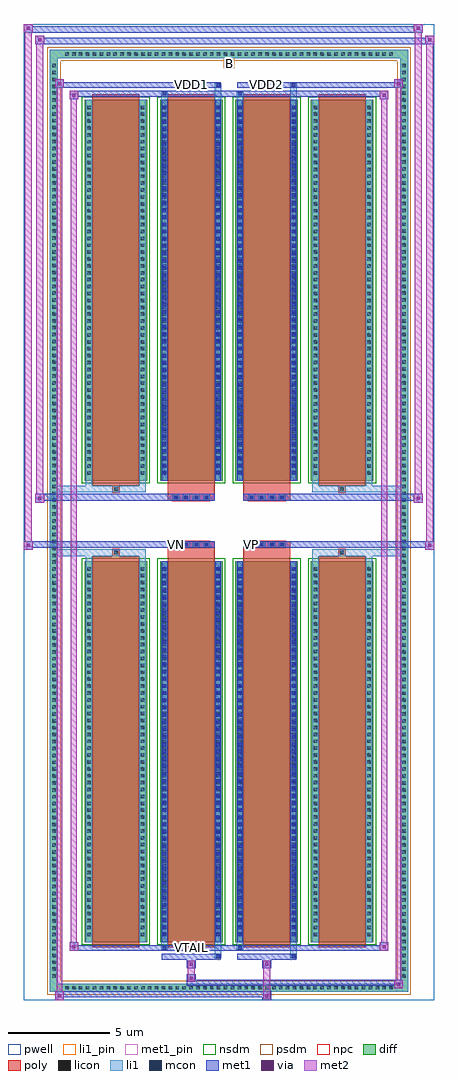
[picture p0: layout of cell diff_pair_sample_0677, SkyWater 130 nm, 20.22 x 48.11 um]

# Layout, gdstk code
import gdstk
lib = gdstk.Library(unit=1e-6, precision=5e-09)
def R(c, l, rs):  # rectangles x0, y0, x1, y1
    for r in rs: c.add(gdstk.rectangle(r[:2], r[2:], *l))
def A(c, l, x, y, w, h, nx, ny, dx, dy):  # array of equal rectangles
    R(c, l, [(x+i*dx, y+j*dy, x+i*dx+w, y+j*dy+h) for i in range(nx) for j in range(ny)])
def P(c, l, *ps):  # polygons
    for p in ps: c.add(gdstk.Polygon(p, *l))
pwell = (64, 44)
diff = (65, 20)
poly = (66, 20)
licon = (66, 44)
li1_pin = (67, 16)
li1 = (67, 20)
mcon = (67, 44)
met1_pin = (68, 16)
met1 = (68, 20)
via = (68, 44)
met2 = (69, 20)
nsdm = (93, 44)
psdm = (94, 20)
npc = (95, 20)

diff_pair_sample_0677 = lib.new_cell('diff_pair_sample_0677')
R(diff_pair_sample_0677, pwell, [(-10.11,-23.62,10.11,24.49), (-7.43,-21.81,-0.01,-0.795), (0.01,-21.81,7.43,-0.795), (-7.43,0.795,-0.01,21.81), (0.01,0.795,7.43,21.81)])
A(diff_pair_sample_0677, diff, -8.195, -23.22, 0.41, 0.41, 48, 2, 0.34, 46.03)
A(diff_pair_sample_0677, diff, -8.84, -22.645, 0.41, 0.41, 1, 133, 0, 0.34)
A(diff_pair_sample_0677, diff, 8.43, -22.645, 0.41, 0.41, 1, 133, 0, 0.34)
A(diff_pair_sample_0677, diff, -7.12, -20.765, 3.08, 18.78, 4, 2, 3.72, 22.75)
R(diff_pair_sample_0677, diff, [(-8.195,-23.22,8.195,-22.81), (-8.84,-22.645,-8.43,22.645), (8.43,-22.645,8.84,22.645), (-8.195,22.81,8.195,23.22)])
P(diff_pair_sample_0677, diff, [(8.84,23.22),(-8.84,23.22),(-8.84,-22.81),(-8.43,-22.81),(-8.43,22.81),(8.43,22.81),(8.43,-22.81),(-8.43,-22.81),(-8.84,-22.81),(-8.84,-23.22),(8.84,-23.22)])
A(diff_pair_sample_0677, poly, -6.73, -21.015, 2.3, 19.28, 4, 2, 3.72, 22.75)
A(diff_pair_sample_0677, poly, -2.775, -1.325, 0.33, 0.33, 4, 2, 0.5, 2.32)
A(diff_pair_sample_0677, poly, 0.945, -1.325, 0.33, 0.33, 4, 2, 0.5, 2.32)
R(diff_pair_sample_0677, poly, [(-5.745,-1.735,-5.415,-1.405), (-5.745,-1.735,-5.415,-1.405), (-3.01,-1.735,-0.71,-1.325), (0.71,-1.735,3.01,-1.325), (5.415,-1.735,5.745,-1.405), (5.415,-1.735,5.745,-1.405), (-3.01,-1.325,-0.71,-0.995), (0.71,-1.325,3.01,-0.995), (-3.01,0.995,-0.71,1.325), (0.71,0.995,3.01,1.325), (-3.01,1.325,-0.71,1.735), (0.71,1.325,3.01,1.735), (-5.745,1.405,-5.415,1.735), (-5.745,1.405,-5.415,1.735), (5.415,1.405,5.745,1.735), (5.415,1.405,5.745,1.735)])
A(diff_pair_sample_0677, licon, -8.075, -23.1, 0.17, 0.17, 48, 2, 0.34, 46.03)
A(diff_pair_sample_0677, licon, -8.72, -22.525, 0.17, 0.17, 1, 133, 0, 0.34)
A(diff_pair_sample_0677, licon, 8.55, -22.525, 0.17, 0.17, 1, 133, 0, 0.34)
A(diff_pair_sample_0677, licon, -6.98, -20.47, 0.17, 0.17, 1, 54, 0, 0.34)
A(diff_pair_sample_0677, licon, -4.35, -20.47, 0.17, 0.17, 1, 54, 0, 0.34)
A(diff_pair_sample_0677, licon, -3.26, -20.47, 0.17, 0.17, 1, 54, 0, 0.34)
A(diff_pair_sample_0677, licon, -0.63, -20.47, 0.17, 0.17, 1, 54, 0, 0.34)
A(diff_pair_sample_0677, licon, 0.46, -20.47, 0.17, 0.17, 1, 54, 0, 0.34)
A(diff_pair_sample_0677, licon, 3.09, -20.47, 0.17, 0.17, 1, 54, 0, 0.34)
A(diff_pair_sample_0677, licon, 4.18, -20.47, 0.17, 0.17, 1, 54, 0, 0.34)
A(diff_pair_sample_0677, licon, 6.81, -20.47, 0.17, 0.17, 1, 54, 0, 0.34)
A(diff_pair_sample_0677, licon, -2.695, -1.245, 0.17, 0.17, 4, 2, 0.5, 2.32)
A(diff_pair_sample_0677, licon, 1.025, -1.245, 0.17, 0.17, 4, 2, 0.5, 2.32)
A(diff_pair_sample_0677, licon, -6.98, 2.28, 0.17, 0.17, 1, 54, 0, 0.34)
A(diff_pair_sample_0677, licon, -4.35, 2.28, 0.17, 0.17, 1, 54, 0, 0.34)
A(diff_pair_sample_0677, licon, -3.26, 2.28, 0.17, 0.17, 1, 54, 0, 0.34)
A(diff_pair_sample_0677, licon, -0.63, 2.28, 0.17, 0.17, 1, 54, 0, 0.34)
A(diff_pair_sample_0677, licon, 0.46, 2.28, 0.17, 0.17, 1, 54, 0, 0.34)
A(diff_pair_sample_0677, licon, 3.09, 2.28, 0.17, 0.17, 1, 54, 0, 0.34)
A(diff_pair_sample_0677, licon, 4.18, 2.28, 0.17, 0.17, 1, 54, 0, 0.34)
A(diff_pair_sample_0677, licon, 6.81, 2.28, 0.17, 0.17, 1, 54, 0, 0.34)
R(diff_pair_sample_0677, licon, [(-5.665,-1.655,-5.495,-1.485), (5.495,-1.655,5.665,-1.485), (-5.665,1.485,-5.495,1.655), (5.495,1.485,5.665,1.655)])
R(diff_pair_sample_0677, li1_pin, [(-0.25,22.31,0.25,22.81)])
A(diff_pair_sample_0677, li1, -8.155, -23.18, 0.33, 0.33, 48, 2, 0.34, 46.03)
A(diff_pair_sample_0677, li1, -8.8, -22.605, 0.33, 0.33, 1, 133, 0, 0.34)
A(diff_pair_sample_0677, li1, 8.47, -22.605, 0.33, 0.33, 1, 133, 0, 0.34)
A(diff_pair_sample_0677, li1, -7.06, -20.55, 0.33, 0.33, 1, 54, 0, 0.34)
A(diff_pair_sample_0677, li1, -4.43, -20.55, 0.33, 0.33, 1, 54, 0, 0.34)
A(diff_pair_sample_0677, li1, -3.34, -20.55, 0.33, 0.33, 1, 54, 0, 0.34)
A(diff_pair_sample_0677, li1, -0.71, -20.55, 0.33, 0.33, 1, 54, 0, 0.34)
A(diff_pair_sample_0677, li1, 0.38, -20.55, 0.33, 0.33, 1, 54, 0, 0.34)
A(diff_pair_sample_0677, li1, 3.01, -20.55, 0.33, 0.33, 1, 54, 0, 0.34)
A(diff_pair_sample_0677, li1, 4.1, -20.55, 0.33, 0.33, 1, 54, 0, 0.34)
A(diff_pair_sample_0677, li1, 6.73, -20.55, 0.33, 0.33, 1, 54, 0, 0.34)
A(diff_pair_sample_0677, li1, -3.26, -20.46, 0.17, 0.17, 1, 51, 0, 0.36)
A(diff_pair_sample_0677, li1, -0.63, -20.46, 0.17, 0.17, 1, 51, 0, 0.36)
A(diff_pair_sample_0677, li1, 0.46, -20.46, 0.17, 0.17, 1, 51, 0, 0.36)
A(diff_pair_sample_0677, li1, 3.09, -20.46, 0.17, 0.17, 1, 51, 0, 0.36)
A(diff_pair_sample_0677, li1, -2.775, -1.325, 0.33, 0.33, 4, 2, 0.5, 2.32)
A(diff_pair_sample_0677, li1, 0.945, -1.325, 0.33, 0.33, 4, 2, 0.5, 2.32)
A(diff_pair_sample_0677, li1, -7.06, 2.2, 0.33, 0.33, 1, 54, 0, 0.34)
A(diff_pair_sample_0677, li1, -4.43, 2.2, 0.33, 0.33, 1, 54, 0, 0.34)
A(diff_pair_sample_0677, li1, -3.34, 2.2, 0.33, 0.33, 1, 54, 0, 0.34)
A(diff_pair_sample_0677, li1, -0.71, 2.2, 0.33, 0.33, 1, 54, 0, 0.34)
A(diff_pair_sample_0677, li1, 0.38, 2.2, 0.33, 0.33, 1, 54, 0, 0.34)
A(diff_pair_sample_0677, li1, 3.01, 2.2, 0.33, 0.33, 1, 54, 0, 0.34)
A(diff_pair_sample_0677, li1, 4.1, 2.2, 0.33, 0.33, 1, 54, 0, 0.34)
A(diff_pair_sample_0677, li1, 6.73, 2.2, 0.33, 0.33, 1, 54, 0, 0.34)
A(diff_pair_sample_0677, li1, -3.26, 2.29, 0.17, 0.17, 1, 51, 0, 0.36)
A(diff_pair_sample_0677, li1, -0.63, 2.29, 0.17, 0.17, 1, 51, 0, 0.36)
A(diff_pair_sample_0677, li1, 0.46, 2.29, 0.17, 0.17, 1, 51, 0, 0.36)
A(diff_pair_sample_0677, li1, 3.09, 2.29, 0.17, 0.17, 1, 51, 0, 0.36)
R(diff_pair_sample_0677, li1, [(-8.84,-23.22,-8.43,-22.81), (-8.84,-23.22,-8.43,-22.81), (-8.43,-23.22,8.43,-22.81), (8.43,-23.22,8.84,-22.81), (8.43,-23.22,8.84,-22.81), (-8.84,-22.81,-8.43,22.81), (8.43,-22.81,8.84,22.81), (-0.71,-21.57,-0.38,-20.765), (-0.63,-21.57,-0.46,-21.4), (3.01,-21.57,3.34,-20.765), (3.09,-21.57,3.26,-21.4), (-3.34,-21.14,-3.01,-20.765), (-3.26,-21.14,-3.09,-20.97), (0.38,-21.14,0.71,-20.765), (0.46,-21.14,0.63,-20.97), (-7.06,-20.765,-6.73,-1.985), (-4.43,-20.765,-4.1,-1.985), (-3.34,-20.765,-3.01,-1.985), (-0.71,-20.765,-0.38,-1.985), (0.38,-20.765,0.71,-1.985), (3.01,-20.765,3.34,-1.985), (4.1,-20.765,4.43,-1.985), (6.73,-20.765,7.06,-1.985), (-3.26,-20.46,-3.09,-2.29), (-0.63,-20.46,-0.46,-2.29), (0.46,-20.46,0.63,-2.29), (3.09,-20.46,3.26,-2.29), (-7.06,-1.985,-6.73,-1.405), (-4.43,-1.985,-4.1,-1.405), (4.1,-1.985,4.43,-1.405), (6.73,-1.985,7.06,-1.405), (-8.84,-1.735,-5.745,-1.405), (-7.06,-1.735,-5.745,-1.405), (-5.745,-1.735,-5.415,-1.405), (-5.415,-1.735,-4.1,-1.405), (4.1,-1.735,5.415,-1.405), (5.415,-1.735,5.745,-1.405), (5.415,-1.735,8.84,-1.405), (5.745,-1.735,7.06,-1.405), (-8.84,1.405,-5.745,1.735), (-7.06,1.405,-5.745,1.735), (-7.06,1.405,-6.73,1.985), (-5.745,1.405,-5.415,1.735), (-5.415,1.405,-4.1,1.735), (-4.43,1.405,-4.1,1.985), (4.1,1.405,5.415,1.735), (4.1,1.405,4.43,1.985), (5.415,1.405,5.745,1.735), (5.415,1.405,8.84,1.735), (5.745,1.405,7.06,1.735), (6.73,1.405,7.06,1.985), (-7.06,1.985,-6.73,20.765), (-4.43,1.985,-4.1,20.765), (-3.34,1.985,-3.01,20.765), (-0.71,1.985,-0.38,20.765), (0.38,1.985,0.71,20.765), (3.01,1.985,3.34,20.765), (4.1,1.985,4.43,20.765), (6.73,1.985,7.06,20.765), (-3.26,2.29,-3.09,20.46), (-0.63,2.29,-0.46,20.46), (0.46,2.29,0.63,20.46), (3.09,2.29,3.26,20.46), (-3.34,20.765,-3.01,21.14), (-0.71,20.765,-0.38,21.57), (0.38,20.765,0.71,21.14), (3.01,20.765,3.34,21.57), (-3.26,20.97,-3.09,21.14), (0.46,20.97,0.63,21.14), (-0.63,21.4,-0.46,21.57), (3.09,21.4,3.26,21.57), (-8.84,22.81,-8.43,23.22), (-8.84,22.81,-8.43,23.22), (-8.43,22.81,8.43,23.22), (8.43,22.81,8.84,23.22), (8.43,22.81,8.84,23.22)])
A(diff_pair_sample_0677, mcon, -3.26, -20.46, 0.17, 0.17, 1, 51, 0, 0.36)
A(diff_pair_sample_0677, mcon, -0.63, -20.46, 0.17, 0.17, 1, 51, 0, 0.36)
A(diff_pair_sample_0677, mcon, 0.46, -20.46, 0.17, 0.17, 1, 51, 0, 0.36)
A(diff_pair_sample_0677, mcon, 3.09, -20.46, 0.17, 0.17, 1, 51, 0, 0.36)
A(diff_pair_sample_0677, mcon, -2.695, -1.245, 0.17, 0.17, 4, 2, 0.5, 2.32)
A(diff_pair_sample_0677, mcon, 1.025, -1.245, 0.17, 0.17, 4, 2, 0.5, 2.32)
A(diff_pair_sample_0677, mcon, -3.26, 2.29, 0.17, 0.17, 1, 51, 0, 0.36)
A(diff_pair_sample_0677, mcon, -0.63, 2.29, 0.17, 0.17, 1, 51, 0, 0.36)
A(diff_pair_sample_0677, mcon, 0.46, 2.29, 0.17, 0.17, 1, 51, 0, 0.36)
A(diff_pair_sample_0677, mcon, 3.09, 2.29, 0.17, 0.17, 1, 51, 0, 0.36)
R(diff_pair_sample_0677, mcon, [(-0.63,-21.57,-0.46,-21.4), (3.09,-21.57,3.26,-21.4), (-3.26,-21.14,-3.09,-20.97), (0.46,-21.14,0.63,-20.97), (-3.26,20.97,-3.09,21.14), (0.46,20.97,0.63,21.14), (-0.63,21.4,-0.46,21.57), (3.09,21.4,3.26,21.57)])
R(diff_pair_sample_0677, met1_pin, [(-1.995,-21.18,-1.725,-20.91), (-2.745,-1.285,-2.475,-1.015), (0.975,-1.285,1.245,-1.015), (-1.995,21.36,-1.725,21.63), (1.725,21.36,1.995,21.63)])
A(diff_pair_sample_0677, met1, -3.32, -20.52, 0.29, 0.29, 1, 51, 0, 0.36)
A(diff_pair_sample_0677, met1, -0.69, -20.52, 0.29, 0.29, 1, 51, 0, 0.36)
A(diff_pair_sample_0677, met1, 0.4, -20.52, 0.29, 0.29, 1, 51, 0, 0.36)
A(diff_pair_sample_0677, met1, 3.03, -20.52, 0.29, 0.29, 1, 51, 0, 0.36)
A(diff_pair_sample_0677, met1, -2.755, -1.305, 0.29, 0.29, 4, 2, 0.5, 2.32)
A(diff_pair_sample_0677, met1, 0.965, -1.305, 0.29, 0.29, 4, 2, 0.5, 2.32)
A(diff_pair_sample_0677, met1, -3.32, 2.23, 0.29, 0.29, 1, 51, 0, 0.36)
A(diff_pair_sample_0677, met1, -0.69, 2.23, 0.29, 0.29, 1, 51, 0, 0.36)
A(diff_pair_sample_0677, met1, 0.4, 2.23, 0.29, 0.29, 1, 51, 0, 0.36)
A(diff_pair_sample_0677, met1, 3.03, 2.23, 0.29, 0.29, 1, 51, 0, 0.36)
R(diff_pair_sample_0677, met1, [(-8.57,-23.62,-8.14,-23.19), (1.645,-23.62,2.075,-23.19), (-8.57,-23.48,2.075,-23.19), (8.14,-23.05,8.57,-22.62), (-2.075,-22.91,8.57,-22.62), (-2.075,-22.77,-1.645,-22.34), (-2.075,-22.06,-1.645,-21.63), (1.645,-22.06,2.075,-21.63), (-3.32,-21.63,-0.4,-21.34), (-0.69,-21.63,-0.4,-21.34), (0.4,-21.63,3.32,-21.34), (3.03,-21.63,3.32,-21.34), (-7.86,-21.2,-7.43,-20.77), (-7.86,-21.2,-3.32,-20.91), (-3.32,-21.2,-3.03,-20.91), (-3.32,-21.2,-0.4,-20.91), (-0.4,-21.2,0.4,-20.91), (0.4,-21.2,0.69,-20.91), (0.4,-21.2,3.32,-20.91), (3.32,-21.2,7.86,-20.91), (7.43,-21.2,7.86,-20.77), (-3.32,-20.765,-3.03,-1.985), (-0.69,-20.765,-0.4,-1.985), (0.4,-20.765,0.69,-1.985), (3.03,-20.765,3.32,-1.985), (-10.11,-1.425,-9.68,-0.995), (9.68,-1.425,10.11,-0.995), (-10.11,-1.325,-0.71,-0.995), (-3.01,-1.325,-0.71,-0.995), (0.71,-1.325,3.01,-0.995), (0.71,-1.325,10.11,-0.995), (-9.54,0.895,-9.11,1.325), (9.11,0.895,9.54,1.325), (-9.54,0.995,-3.01,1.325), (-3.01,0.995,-0.71,1.325), (0.71,0.995,3.01,1.325), (3.01,0.995,9.54,1.325), (-3.32,1.985,-3.03,20.765), (-0.69,1.985,-0.4,20.765), (0.4,1.985,0.69,20.765), (3.03,1.985,3.32,20.765), (-7.86,20.77,-7.43,21.2), (7.43,20.77,7.86,21.2), (-7.86,20.91,-3.32,21.2), (-3.32,20.91,-3.03,21.2), (-3.32,20.91,-0.4,21.2), (-0.4,20.91,0.4,21.2), (0.4,20.91,0.69,21.2), (0.4,20.91,3.32,21.2), (3.32,20.91,7.86,21.2), (-8.57,21.34,-8.14,21.77), (-8.57,21.34,-3.32,21.63), (-3.32,21.34,-0.4,21.63), (-0.69,21.34,-0.4,21.63), (0.4,21.34,3.32,21.63), (3.03,21.34,3.32,21.63), (3.32,21.34,8.57,21.63), (8.14,21.34,8.57,21.77), (-9.54,23.49,-9.11,23.92), (-9.54,23.49,-7.43,23.82), (-7.43,23.49,7.43,23.82), (7.43,23.49,10.11,23.82), (9.68,23.49,10.11,23.92), (-10.11,24.06,-9.68,24.49), (-10.11,24.06,-7.43,24.39), (-7.43,24.06,7.43,24.39), (7.43,24.06,9.54,24.39), (9.11,24.06,9.54,24.49)])
R(diff_pair_sample_0677, via, [(-8.43,-23.48,-8.28,-23.33), (1.785,-23.48,1.935,-23.33), (8.28,-22.91,8.43,-22.76), (-1.935,-22.63,-1.785,-22.48), (-1.935,-21.92,-1.785,-21.77), (1.785,-21.92,1.935,-21.77), (-7.72,-21.06,-7.57,-20.91), (7.57,-21.06,7.72,-20.91), (-9.97,-1.285,-9.82,-1.135), (9.82,-1.285,9.97,-1.135), (-9.4,1.035,-9.25,1.185), (9.25,1.035,9.4,1.185), (-7.72,20.91,-7.57,21.06), (7.57,20.91,7.72,21.06), (-8.43,21.48,-8.28,21.63), (8.28,21.48,8.43,21.63), (-9.4,23.63,-9.25,23.78), (9.82,23.63,9.97,23.78), (-9.97,24.2,-9.82,24.35), (9.25,24.2,9.4,24.35)])
R(diff_pair_sample_0677, met2, [(-8.57,-23.62,-8.14,-23.19), (-8.5,-23.62,-8.21,21.77), (-8.21,-23.62,-8.14,-23.19), (-8.52,-23.57,-8.19,-23.24), (1.695,-23.57,2.025,-23.24), (1.695,-23.24,2.025,-22.01), (8.14,-23.05,8.57,-22.62), (8.21,-23.05,8.5,21.77), (8.5,-23.05,8.57,-22.62), (8.19,-23,8.52,-22.67), (-2.025,-22.72,-1.695,-22.39), (-2.025,-22.39,-1.695,-22.01), (-2.025,-22.01,-1.695,-21.68), (1.695,-22.01,2.025,-21.68), (-7.86,-21.2,-7.43,-20.77), (-7.79,-21.2,-7.5,21.2), (-7.5,-21.2,-7.43,-20.77), (7.43,-21.2,7.86,-20.77), (7.5,-21.2,7.79,21.2), (7.79,-21.2,7.86,-20.77), (-7.81,-21.15,-7.48,-20.82), (7.48,-21.15,7.81,-20.82), (-10.11,-1.425,-9.68,-0.995), (-10.06,-1.425,-9.73,24.49), (-9.73,-1.425,-9.68,-0.995), (9.68,-1.425,10.11,-0.995), (9.73,-1.425,10.06,23.92), (10.06,-1.425,10.11,-0.995), (-10.06,-1.375,-9.73,-1.045), (9.73,-1.375,10.06,-1.045), (-9.54,0.895,-9.11,1.325), (-9.49,0.895,-9.16,23.92), (-9.16,0.895,-9.11,1.325), (9.11,0.895,9.54,1.325), (9.16,0.895,9.49,24.49), (9.49,0.895,9.54,1.325), (-9.49,0.945,-9.16,1.275), (9.16,0.945,9.49,1.275), (-7.86,20.77,-7.43,21.2), (-7.5,20.77,-7.43,21.2), (7.43,20.77,7.86,21.2), (7.79,20.77,7.86,21.2), (-7.81,20.82,-7.48,21.15), (7.48,20.82,7.81,21.15), (-8.57,21.34,-8.14,21.77), (-8.21,21.34,-8.14,21.77), (8.14,21.34,8.57,21.77), (8.5,21.34,8.57,21.77), (-8.52,21.39,-8.19,21.72), (8.19,21.39,8.52,21.72), (-9.54,23.49,-9.11,23.92), (-9.16,23.49,-9.11,23.92), (9.68,23.49,10.11,23.92), (10.06,23.49,10.11,23.92), (-9.49,23.54,-9.16,23.87), (9.73,23.54,10.06,23.87), (-10.11,24.06,-9.68,24.49), (-9.73,24.06,-9.68,24.49), (9.11,24.06,9.54,24.49), (9.49,24.06,9.54,24.49), (-10.06,24.11,-9.73,24.44), (9.16,24.11,9.49,24.44)])
A(diff_pair_sample_0677, nsdm, -7.25, -20.895, 3.34, 19.04, 4, 2, 3.72, 22.75)
P(diff_pair_sample_0677, psdm, [(8.97,23.35),(-8.97,23.35),(-8.97,-22.68),(-8.3,-22.68),(-8.3,22.68),(8.3,22.68),(8.3,-22.68),(-8.3,-22.68),(-8.97,-22.68),(-8.97,-23.35),(8.97,-23.35)])
A(diff_pair_sample_0677, npc, -2.795, -1.345, 0.37, 0.37, 4, 2, 0.5, 2.32)
A(diff_pair_sample_0677, npc, 0.925, -1.345, 0.37, 0.37, 4, 2, 0.5, 2.32)
R(diff_pair_sample_0677, npc, [(-5.765,-1.755,-5.395,-1.385), (5.395,-1.755,5.765,-1.385), (-2.795,-1.345,-1.925,-0.975), (-2.795,-1.345,-1.925,-0.975), (-2.295,-1.345,-1.425,-0.975), (-2.295,-1.345,-1.425,-0.975), (-1.795,-1.345,-0.925,-0.975), (-1.795,-1.345,-0.925,-0.975), (0.925,-1.345,1.795,-0.975), (0.925,-1.345,1.795,-0.975), (1.425,-1.345,2.295,-0.975), (1.425,-1.345,2.295,-0.975), (1.925,-1.345,2.795,-0.975), (1.925,-1.345,2.795,-0.975), (-2.795,0.975,-1.925,1.345), (-2.795,0.975,-1.925,1.345), (-2.295,0.975,-1.425,1.345), (-2.295,0.975,-1.425,1.345), (-1.795,0.975,-0.925,1.345), (-1.795,0.975,-0.925,1.345), (0.925,0.975,1.795,1.345), (0.925,0.975,1.795,1.345), (1.425,0.975,2.295,1.345), (1.425,0.975,2.295,1.345), (1.925,0.975,2.795,1.345), (1.925,0.975,2.795,1.345), (-5.765,1.385,-5.395,1.755), (5.395,1.385,5.765,1.755)])
diff_pair_sample_0677.add(gdstk.Label('VTAIL', (-1.86,-21.045), layer=68, texttype=5))
diff_pair_sample_0677.add(gdstk.Label('VN', (-2.61,-1.15), layer=68, texttype=5))
diff_pair_sample_0677.add(gdstk.Label('VP', (1.11,-1.15), layer=68, texttype=5))
diff_pair_sample_0677.add(gdstk.Label('B', (0,22.56), layer=67, texttype=5))
diff_pair_sample_0677.add(gdstk.Label('VDD2', (1.86,21.495), layer=68, texttype=5))
diff_pair_sample_0677.add(gdstk.Label('VDD1', (-1.86,21.495), layer=68, texttype=5))

lib.write_gds('diff_pair_sample_0677.gds')
